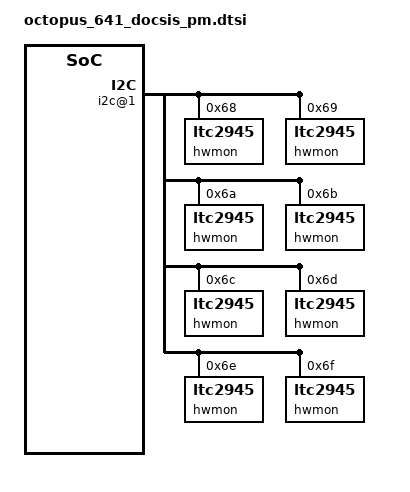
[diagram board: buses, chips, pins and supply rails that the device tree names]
// SPDX-License-Identifier: GPL-2.0
/*
 * Copyright (C) 2023 MaxLinear, Inc.
 *
 * This program is free software; you can redistribute it and/or modify it
 * under the terms of the GNU General Public License, as published by the Free
 * Software Foundation; either version 2 of the License, or (at your option)
 * any later version.
 *
 * This program is distributed in the hope that it will be useful, but WITHOUT
 * ANY WARRANTY; without even the implied warranty of MERCHANTABILITY or
 * FITNESS FOR A PARTICULAR PURPOSE.
 * See the GNU General Public License for more details.
 *
 * You should have received a copy of the GNU General Public License along
 * with this program; if not, see <http://www.gnu.org/licenses/>.
 */

&i2c_mux {
	i2c@1 {
		#address-cells = <1>;
		#size-cells = <0>;
		reg = <1>;

		hwmon@68 {
			compatible = "ltc2945";
			reg = <0x68>;
			ltc2945,resistor = <10>; /* the unit is mohm */
			rail-name = "V0P8_PCIE";
		};
		hwmon@69 {
			compatible = "ltc2945";
			reg = <0x69>;
			ltc2945,resistor = <20>; /* the unit is mohm */
			rail-name = "SOC_V3P3";
		};
		hwmon@6a {
			compatible = "ltc2945";
			reg = <0x6a>;
			ltc2945,resistor = <20>; /* the unit is mohm */
			rail-name = "PGA_V3P3";
		};
		hwmon@6b {
			compatible = "ltc2945";
			reg = <0x6b>;
			ltc2945,resistor = <5>; /* the unit is mohm */
			rail-name = "V7P8_UBPGA";
		};
		hwmon@6c {
			compatible = "ltc2945";
			reg = <0x6c>;
			ltc2945,resistor = <20>; /* the unit is mohm */
			rail-name = "V3P3_SYS";
		};
		hwmon@6d {
			compatible = "ltc2945";
			reg = <0x6d>;
			ltc2945,resistor = <10>; /* the unit is mohm */
			rail-name = "SOC_V1P8";
		};
		hwmon@6e {
			compatible = "ltc2945";
			reg = <0x6e>;
			ltc2945,resistor = <3>; /* the unit is mohm */
			rail-name = "V0P8_CORE";
		};
		hwmon@6f {
			compatible = "ltc2945";
			reg = <0x6f>;
			ltc2945,resistor = <10>; /* the unit is mohm */
			rail-name = "SOC_V1P2";
		};
	};
};
